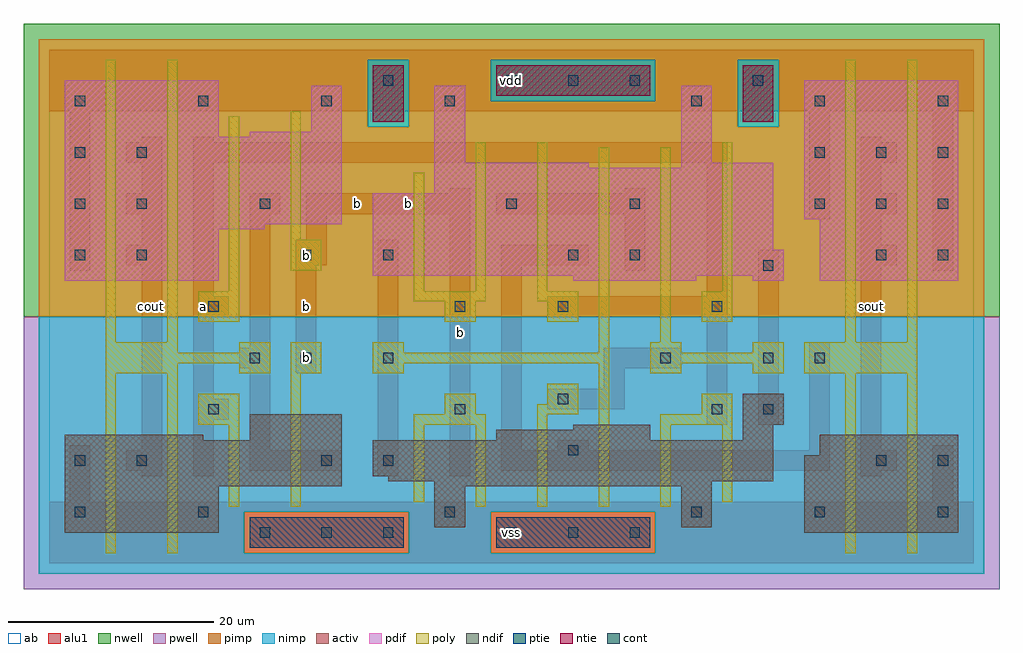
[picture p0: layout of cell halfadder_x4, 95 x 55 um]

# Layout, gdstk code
import gdstk
lib = gdstk.Library(unit=1e-6, precision=1e-09)
def R(c, l, rs):  # rectangles x0, y0, x1, y1
    for r in rs: c.add(gdstk.rectangle(r[:2], r[2:], *l))
def A(c, l, x, y, w, h, nx, ny, dx, dy):  # array of equal rectangles
    R(c, l, [(x+i*dx, y+j*dy, x+i*dx+w, y+j*dy+h) for i in range(nx) for j in range(ny)])
ndif = (3, 0)
pdif = (4, 0)
ntie = (5, 0)
ptie = (6, 0)
cont = (25, 0)
pwell = (41, 0)
nwell = (42, 0)
activ = (43, 0)
pimp = (44, 0)
nimp = (45, 0)
poly = (46, 0)
alu1 = (49, 0)
ab = (63, 0)

halfadder_x4 = lib.new_cell('halfadder_x4')
R(halfadder_x4, ndif, [(1.5,3,16.5,7.5), (73.5,3,88.5,10.5), (37.5,3.5,40.5,7.5), (61.5,3.5,64.5,7.5), (1.5,7.5,28.5,12), (37.5,7.5,64.5,8), (33,8,70.5,8.5), (31.5,8.5,70.5,12), (75,10.5,88.5,12.5), (1.5,12,15,12.5), (19.5,12,28.5,14.5), (43.5,12,58.5,13), (67.5,12,70.5,13.5), (51,13,58.5,13.5), (67.5,13.5,71.5,16.5)])
R(halfadder_x4, pdif, [(1.5,27.5,16.5,32.5), (51,27.5,63,28), (68.5,27.5,71.5,28), (75,27.5,88.5,33.5), (31.5,28,71.5,30.5), (31.5,30.5,70.5,36), (1.5,32.5,21,33), (1.5,33,28.5,41.5), (73.5,33.5,88.5,47), (37.5,36,70.5,38.5), (37.5,38.5,52.5,39), (61.5,38.5,70.5,39), (37.5,39,40.5,46.5), (61.5,39,64.5,46.5), (1.5,41.5,16.5,47), (19.5,41.5,28.5,42), (25.5,42,28.5,46.5)])
R(halfadder_x4, ntie, [(31.5,43,34.5,48.5), (67.5,43,70.5,48.5), (43.5,45.5,58.5,48.5)])
R(halfadder_x4, ptie, [(19.5,1.5,34.5,4.5), (43.5,1.5,58.5,4.5)])
A(halfadder_x4, cont, 20.5, 2.5, 1, 1, 3, 1, 6, 0)
A(halfadder_x4, cont, 44.5, 2.5, 1, 1, 3, 2, 6, 44)
A(halfadder_x4, cont, 14.5, 4.5, 1, 1, 3, 1, 24, 0)
A(halfadder_x4, cont, 32.5, 9.5, 1, 1, 1, 3, 0, 10)
A(halfadder_x4, cont, 2.5, 29.5, 1, 1, 1, 3, 0, 5)
A(halfadder_x4, cont, 8.5, 29.5, 1, 1, 1, 3, 0, 5)
A(halfadder_x4, cont, 74.5, 34.5, 1, 1, 3, 2, 6, 5)
A(halfadder_x4, cont, 2.5, 44.5, 1, 1, 4, 1, 12, 0)
A(halfadder_x4, cont, 62.5, 44.5, 1, 1, 3, 1, 12, 0)
R(halfadder_x4, cont, [(2.5,4.5,3.5,5.5), (74.5,4.5,75.5,5.5), (86.5,4.5,87.5,5.5), (2.5,9.5,3.5,10.5), (8.5,9.5,9.5,10.5), (26.5,9.5,27.5,10.5), (80.5,9.5,81.5,10.5), (86.5,9.5,87.5,10.5), (50.5,10.5,51.5,11.5), (15.5,14.5,16.5,15.5), (39.5,14.5,40.5,15.5), (64.5,14.5,65.5,15.5), (69.5,14.5,70.5,15.5), (49.5,15.5,50.5,16.5), (19.5,19.5,20.5,20.5), (24.5,19.5,25.5,20.5), (59.5,19.5,60.5,20.5), (69.5,19.5,70.5,20.5), (74.5,19.5,75.5,20.5), (15.5,24.5,16.5,25.5), (39.5,24.5,40.5,25.5), (49.5,24.5,50.5,25.5), (64.5,24.5,65.5,25.5), (69.5,28.5,70.5,29.5), (24.5,29.5,25.5,30.5), (50.5,29.5,51.5,30.5), (56.5,29.5,57.5,30.5), (80.5,29.5,81.5,30.5), (86.5,29.5,87.5,30.5), (20.5,34.5,21.5,35.5), (44.5,34.5,45.5,35.5), (56.5,34.5,57.5,35.5), (32.5,46.5,33.5,47.5), (68.5,46.5,69.5,47.5)])
R(halfadder_x4, pwell, [(-2.5,-2.5,92.5,24)])
R(halfadder_x4, nwell, [(-2.5,24,92.5,52.5)])
R(halfadder_x4, activ, [(19.5,1.5,34.5,4.5), (43.5,1.5,58.5,4.5), (1.5,3,16.5,7.5), (73.5,3,88.5,10.5), (37.5,3.5,40.5,7.5), (61.5,3.5,64.5,7.5), (1.5,7.5,28.5,12), (37.5,7.5,64.5,8), (33,8,70.5,8.5), (31.5,8.5,70.5,12), (75,10.5,88.5,12.5), (1.5,12,15,12.5), (19.5,12,28.5,14.5), (43.5,12,58.5,13), (67.5,12,70.5,13.5), (51,13,58.5,13.5), (67.5,13.5,71.5,16.5), (1.5,27.5,16.5,32.5), (51,27.5,63,28), (68.5,27.5,71.5,28), (75,27.5,88.5,33.5), (31.5,28,71.5,30.5), (31.5,30.5,70.5,36), (1.5,32.5,21,33), (1.5,33,28.5,41.5), (73.5,33.5,88.5,47), (37.5,36,70.5,38.5), (37.5,38.5,52.5,39), (61.5,38.5,70.5,39), (37.5,39,40.5,46.5), (61.5,39,64.5,46.5), (1.5,41.5,16.5,47), (19.5,41.5,28.5,42), (25.5,42,28.5,46.5), (31.5,43,34.5,48.5), (67.5,43,70.5,48.5), (43.5,45.5,58.5,48.5)])
R(halfadder_x4, pimp, [(19,1,35,5), (43,1,59,5), (-1,24,91,42.5), (-1,42.5,31,49), (35,42.5,67,45), (71,42.5,91,49), (35,45,43,49), (59,45,67,49), (-1,49,91,51)])
R(halfadder_x4, nimp, [(-1,-1,91,1), (-1,1,19,5), (35,1,43,5), (59,1,91,5), (-1,5,91,24), (31,42.5,35,49), (67,42.5,71,49), (43,45,59,49)])
R(halfadder_x4, poly, [(5.5,1,6.5,18.5), (11.5,1,12.5,18.5), (77.5,1,78.5,18.5), (83.5,1,84.5,18.5), (17.5,5.5,18.5,13.5), (23.5,5.5,24.5,18.5), (41.5,5.5,42.5,13.5), (47.5,5.5,48.5,14.5), (53.5,5.5,54.5,19.5), (59.5,5.5,60.5,13.5), (35.5,6,36.5,13.5), (65.5,6,66.5,13.5), (14.5,13.5,18.5,16.5), (35.5,13.5,42.5,14.5), (59.5,13.5,66.5,14.5), (38.5,14.5,41.5,16.5), (47.5,14.5,51.5,15.5), (63.5,14.5,66.5,16.5), (48.5,15.5,51.5,17.5), (5.5,18.5,12.5,19.5), (18.5,18.5,21.5,19.5), (23.5,18.5,26.5,21.5), (31.5,18.5,34.5,19.5), (58.5,18.5,61.5,19.5), (68.5,18.5,71.5,19.5), (73.5,18.5,84.5,21.5), (5.5,19.5,21.5,20.5), (31.5,19.5,54.5,20.5), (58.5,19.5,71.5,20.5), (5.5,20.5,12.5,21.5), (18.5,20.5,21.5,21.5), (31.5,20.5,34.5,21.5), (53.5,20.5,54.5,40.5), (58.5,20.5,61.5,21.5), (68.5,20.5,71.5,21.5), (5.5,21.5,6.5,49), (11.5,21.5,12.5,49), (59.5,21.5,60.5,40.5), (77.5,21.5,78.5,49), (83.5,21.5,84.5,49), (14.5,23.5,18.5,26.5), (38.5,23.5,41.5,25.5), (48.5,23.5,51.5,25.5), (63.5,23.5,66.5,26.5), (35.5,25.5,42.5,26.5), (47.5,25.5,51.5,26.5), (17.5,26.5,18.5,43.5), (35.5,26.5,36.5,38), (41.5,26.5,42.5,41), (47.5,26.5,48.5,41), (65.5,26.5,66.5,41), (23.5,28.5,26.5,31.5), (23.5,31.5,24.5,44)])
R(halfadder_x4, alu1, [(0,0,90,6), (0,0,90,6), (2,6,4,11.5), (2,6,4,11.5), (86,6,88,11.5), (86,6,88,11.5), (9,8.5,11,9), (9,8.5,11,9), (14,8.5,16,14), (14,8.5,16,14), (32,8.5,34,31.5), (32,8.5,34,31.5), (39,8.5,41,34), (39,8.5,41,34), (79,8.5,81,9), (79,8.5,81,9), (7.5,9,11,11), (7.5,9,11,11), (19.5,9,28.5,11), (19.5,9,28.5,11), (44,9,76,11), (44,9,76,11), (79,9,82.5,11), (79,9,82.5,11), (9,11,11,29), (9,11,11,29), (19.5,11,21.5,19), (19.5,11,21.5,19), (44,11,46,29), (44,11,46,29), (49.5,11,52.5,12), (49.5,11,52.5,12), (74,11,76,21.5), (74,11,76,21.5), (79,11,81,29), (79,11,81,29), (64,13.5,66,24), (64,13.5,66,24), (69,13.5,71,30.5), (69,13.5,71,30.5), (14,14,17.5,16), (14,14,17.5,16), (48.5,15,56,17), (48.5,15,56,17), (14,16,16,24), (14,16,16,24), (54,17,56,19), (54,17,56,19), (24,18.5,26,29), (24,18.5,26,29), (18.5,19,21.5,21), (18.5,19,21.5,21), (54,19,61.5,21), (54,19,61.5,21), (19.5,21,21.5,34), (19.5,21,21.5,34), (14,24,17.5,26), (14,24,17.5,26), (48.5,24,66,26), (48.5,24,66,26), (14,26,16,39), (14,26,16,39), (64,26,66,39), (64,26,66,39), (2,28.5,4,44), (2,28.5,4,44), (56,28.5,58,34), (56,28.5,58,34), (86,28.5,88,44), (86,28.5,88,44), (7.5,29,11,31), (7.5,29,11,31), (24,29,27,31.5), (24,29,27,31.5), (44,29,52.5,31), (44,29,52.5,31), (79,29,82.5,31), (79,29,82.5,31), (9,31,11,34), (9,31,11,34), (79,31,81,34), (79,31,81,34), (25,31.5,27,34), (25,31.5,27,34), (74,33.5,76,44), (74,33.5,76,44), (7.5,34,11,36), (7.5,34,11,36), (19.5,34,22.5,36), (19.5,34,22.5,36), (25,34,41,36), (25,34,41,36), (43.5,34,58,36), (43.5,34,58,36), (79,34,82.5,36), (79,34,82.5,36), (9,36,11,39), (9,36,11,39), (39,36,41,36.5), (39,36,41,36.5), (56,36,58,36.5), (56,36,58,36.5), (79,36,81,39), (79,36,81,39), (7.5,39,11,41), (7.5,39,11,41), (14,39,66,41), (14,39,66,41), (79,39,82.5,41), (79,39,82.5,41), (9,41,11,41.5), (9,41,11,41.5), (14,41,16,41.5), (14,41,16,41.5), (79,41,81,41.5), (79,41,81,41.5), (0,44,90,50), (0,44,90,50)])
R(halfadder_x4, ab, [(0,0,90,50)])
halfadder_x4.add(gdstk.Label('a', (15,25), layer=49, texttype=0))
halfadder_x4.add(gdstk.Label('cout', (10,25), layer=49, texttype=0))
halfadder_x4.add(gdstk.Label('b', (25,20), layer=49, texttype=0))
halfadder_x4.add(gdstk.Label('b', (25,25), layer=49, texttype=0))
halfadder_x4.add(gdstk.Label('b', (25,30), layer=49, texttype=0))
halfadder_x4.add(gdstk.Label('b', (30,35), layer=49, texttype=0))
halfadder_x4.add(gdstk.Label('vss', (45,3), layer=49, texttype=0))
halfadder_x4.add(gdstk.Label('b', (40,22.5), layer=49, texttype=0))
halfadder_x4.add(gdstk.Label('b', (35,35), layer=49, texttype=0))
halfadder_x4.add(gdstk.Label('vdd', (45,47), layer=49, texttype=0))
halfadder_x4.add(gdstk.Label('sout', (80,25), layer=49, texttype=0))

lib.write_gds('halfadder_x4.gds')
